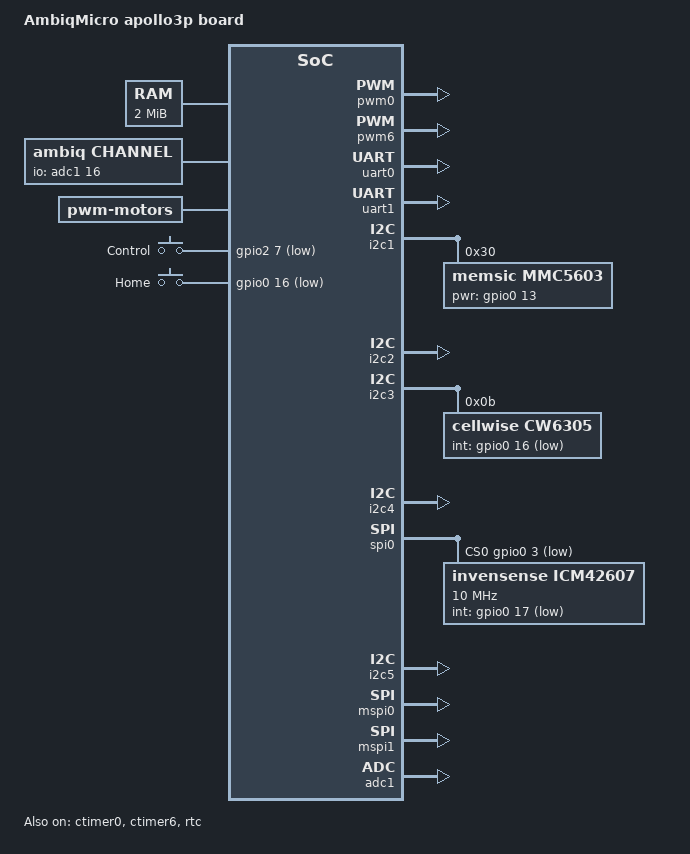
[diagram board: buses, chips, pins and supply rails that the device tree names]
/*
 * Copyright (c) 2020 CKT
 *
 * SPDX-License-Identifier: Apache-2.0
 */

/dts-v1/;
#include <ambiq/apollo3p.dtsi>
#include <ambiq/timer_clock.h>
#include <dt-bindings/pwm/pwm.h>
#include <dt-bindings/gpio/gpio.h>

/ {
	model = "AmbiqMicro apollo3p board";
	compatible = "ambiq,apollo3p";

	chosen {
		zephyr,console = &uart0;
		zephyr,shell-uart = &uart0;
		zephyr,flash = &flash0;
		zephyr,sram = &sram0;
		zephyr,ccm = &ccm0;
		zephyr,flash-controller = &flash;
		zephyr,code-partition = &slot0_partition;
		psram = &psram0;
	};

	psram0: memory@55000000 {
		compatible = "aps1604,psram";
		label = "psram";
		reg = <0x56000000 DT_SIZE_K(2048)>;
	};

	power-states {
		normal_sleep: state0 {
			compatible = "zephyr,power-state";
			power-state-name = "suspend-to-idle";
			substate-id = <0>;
			min-residency-us = <500>;
		};

		deep_sleep: state1 {
			compatible = "zephyr,power-state";
			power-state-name = "suspend-to-idle";
			substate-id = <1>;
			min-residency-us = <2000>;
		};
	};

	soc {
		flash-controller@40018000 {
			flash0: flash@00000000 {
				reg = <0x00000000 DT_SIZE_K(2048)>;
			};
		};
	};

    mspi-nor {
	  compatible = "gd,mspi-nor";
	  label = "MSPI-NOR";
	  partitions {
		  compatible = "fixed-partitions";
		  #address-cells = <1>;
		  #size-cells = <1>;

		  resource_partition: partition@0 {
			  label = "resource_img";
			  reg = <0x0 DT_SIZE_K(8*1024)>;
		  };
		  watch_face_theme1_partition: partition@800000 {
			  label = "watch_face_1";
			  reg = <0x800000 DT_SIZE_K(2048)>;
		  };
		  watch_face_theme2_partition: partition@A00000 {
			  label = "watch_face_2";
			  reg = <0xA00000 DT_SIZE_K(2048)>;
		  };
		  watch_face_theme3_partition: partition@C00000 {
			  label = "watch_face_3";
			  reg = <0xC00000 DT_SIZE_K(2048)>;
		  };
		  watch_face_theme4_partition: partition@E00000 {
			  label = "watch_face_4";
			  reg = <0xE00000 DT_SIZE_K(2048)>;
		  };
		  watch_face_theme5_partition: partition@1000000 {
			  label = "watch_face_5";
			  reg = <0x1000000 DT_SIZE_K(2048)>;
		  };
		  storage_partition: partition@1200000 {
			  label = "storage";
			  reg = <0x1200000 DT_SIZE_K(2048)>;
		  };
		  update_partition: partition@1400000 {
			  label = "update_img";
			  reg = <0x1400000 DT_SIZE_K(2048)>;
		  };
		  file_system: partition@1600000 {
			  label = "fs";
			  reg = <0x1600000 DT_SIZE_K(10*1024)>;
		  };
	  };
  };

	channel: channel {
		compatible = "ambiq,channel";
		io-channels = <&adc1 16>;
		io-channel-names = "ADCSE0";
		status = "disabled";
		label = "channel";
	};

	pwmmotor {
		compatible = "pwm-motors";
		label = "MOTOR";
		motor: motor {
	    	pwms = <&pwm6 0 1 PWM_POLARITY_NORMAL>;
		};
		/* PWM_POLARITY_INVERTED or PWM_POLARITY_NORMAL*/
	};

	gpio_keys {
		compatible = "gpio-buttons";
		label = "buttons";
		control_button: button-1 {
			label = "Control";
			gpios = <&gpio2 7 GPIO_ACTIVE_LOW>;
			code = <0x1b12>; /* GX_KEY_CONTROL */
		};
		home_button: button-2 {
			label = "Home";
			gpios = <&gpio0 16 GPIO_ACTIVE_LOW>;
			code = <0x1b04>; /* GX_KEY_HOME */
		};
	};
};

&cpu0 {
	cpu-power-states = <&normal_sleep &deep_sleep>;
};


&flash0 {
	partitions {
		compatible = "fixed-partitions";
		#address-cells = <1>;
		#size-cells = <1>;

		otp_partition: partition@0 {
			label = "otp";
			reg = <0x0 DT_SIZE_K(48)>;
		};
		boot_partition: partition@c000 {
			label = "mcuboot";
			reg = <0x0000c000 DT_SIZE_K(192)>;
		};
		slot0_partition: partition@3c000 {
			label = "image-0";
			reg = <0x0003c000 DT_SIZE_K(1808)>;
		};
	};
};

&ctimer0 {
	status = "okay";
	clock_source = <RTC_100HZ>;
	pwm0: pwm {
	  ch0_pin = <25>;
	  ch1_pin = <255>;
      status = "okay";
	};
};

&ctimer6 {
	status = "okay";
	clock_source = <HFRC_3MHZ>;
	pwm6: pwm {
	  ch0_pin = <45>;
	  ch1_pin = <255>;
      status = "okay";
	};
};

&gpio0 {
    status = "okay";
};

&gpio1 {
    status = "okay";
};

&gpio2 {
    status = "okay";
};

&uart0 {
    status = "okay";
};

&uart1 {
    status = "okay";
};

&rtc {
    status = "okay";
};

&i2c0 {
    status = "disabled";
};

&i2c1 {
    status = "okay";
	mmc5603@30 {
		compatible = "memsic,mmc5603";
		label = "MMC5603";
		reg = <0x30>;
		pwr-gpios = <&gpio0 13 GPIO_ACTIVE_HIGH>;
	};
};

&i2c2 {
    status = "okay";
};

&i2c3 {
    status = "okay";
	cw6305@0B {
		compatible = "cellwise,cw6305";
		label = "CW6305";
		reg = <0x0B>;
		int-gpios = <&gpio0 16 GPIO_ACTIVE_LOW>;
	};
};

&i2c4 {
    status = "okay";
};

&spi0 {
	status = "okay";
	cs-gpios = <&gpio0 3 GPIO_ACTIVE_LOW>;
	icm42607@0 {
	  compatible = "invensense,icm42607";
	  int-gpios = <&gpio0 17 GPIO_ACTIVE_LOW>;
	  label = "ICM42607";
	  reg = <0>;
	  spi-max-frequency = <10000000>;

	  /* irq-gp.ios = <&gpio 0 0>; */
	  /* disconnect-sdo-sa0-pull-up; */
  };
};

&i2c5 {
    status = "okay";
};

&mspi0 {
    status = "okay";
};

&mspi1 {
    status = "okay";
};

&adc1 {
    status = "okay";
};

&channel {
    status = "okay";
};


